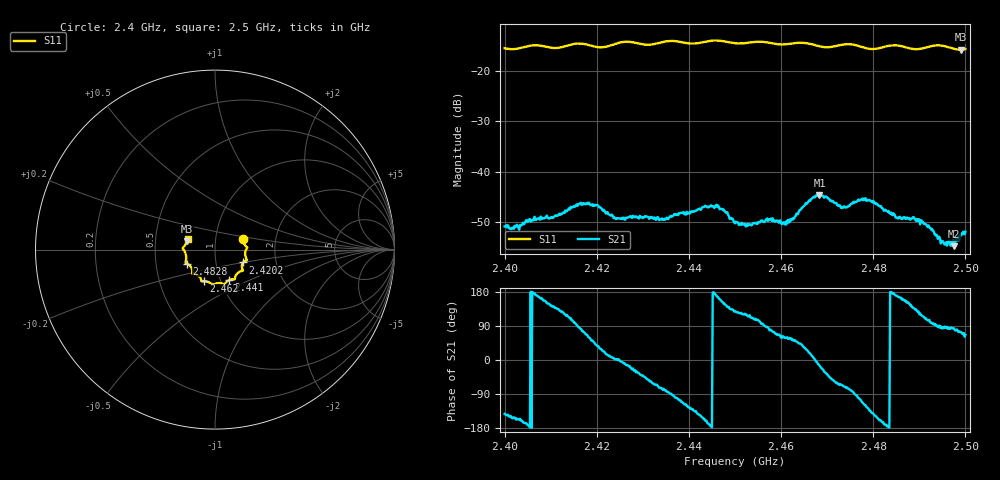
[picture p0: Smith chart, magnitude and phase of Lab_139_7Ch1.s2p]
# Hz S RI R 50
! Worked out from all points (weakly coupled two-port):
!   601 points, 2.4 GHz to 2.5 GHz, reference 50 ohm
!   highest |S21| = -44.61 dB at 2.4683 GHz (marker M1); lowest = -54.8 dB at 2.4975 GHz (marker M2)
!   lowest |S11| = -15.8 dB at 2.499 GHz (marker M3), VSWR 1.39, Z = 36.4 + j3.6 ohm
!   |S11| at or under -10 dB: start of sweep to end of sweep
!   S12 and S22 are empty: the file has one direction only
!   S11 on the Smith chart (normalised r, x): 2.4 GHz: 1.36, +0.17; 2.4202 GHz: 1.36, -0.20; 2.441 GHz: 1.10, -0.39; 2.462 GHz: 0.83, -0.30; 2.4828 GHz: 0.72, -0.12; 2.5 GHz: 0.73, +0.09
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2.4e9  0.1571 0.0609  -0.00227 -0.00176  0 0  0 0
2.410167e9  0.17 -0.0091  -0.00281 0.00208  0 0  0 0
2.416667e9  0.1775 -0.0591  0.000726 0.00467  0 0  0 0
2.420167e9  0.157 -0.0718  0.00376 0.00278  0 0  0 0
2.424167e9  0.1524 -0.1083  0.00339 0.000141  0 0  0 0
2.433333e9  0.1128 -0.1519  0.00121 -0.00332  0 0  0 0
2.441e9  0.0774 -0.1705  -0.00278 -0.00294  0 0  0 0
2.446e9  0.0511 -0.1943  -0.00462 0.000899  0 0  0 0
2.45e9  0.0271 -0.1869  -0.00193 0.0024  0 0  0 0
2.452833e9  0.000518 -0.1908  -0.00123 0.00266  0 0  0 0
2.462e9  -0.0613 -0.1761  0.00184 0.00285  0 0  0 0
2.466667e9  -0.0774 -0.1675  0.00534 0.00105  0 0  0 0
2.468333e9  -0.0836 -0.1551  0.00569 -0.00149  0 0  0 0
2.4735e9  -0.1231 -0.1356  0.00158 -0.00412  0 0  0 0
2.478833e9  -0.1292 -0.1056  -0.00313 -0.00416  0 0  0 0
2.482833e9  -0.1577 -0.0779  -0.00405 -0.00065  0 0  0 0
2.483333e9  -0.1606 -0.0765  -0.00408 -0.000224  0 0  0 0
2.490333e9  -0.1654 -0.0191  -0.00159 0.00287  0 0  0 0
2.495167e9  -0.1772 0.0124  0.000114 0.00204  0 0  0 0
2.4975e9  -0.1638 0.0295  0.000203 0.00182  0 0  0 0
2.499e9  -0.1555 0.0481  0.000662 0.00224  0 0  0 0
2.5e9  -0.1532 0.0617  0.00103 0.00233  0 0  0 0
